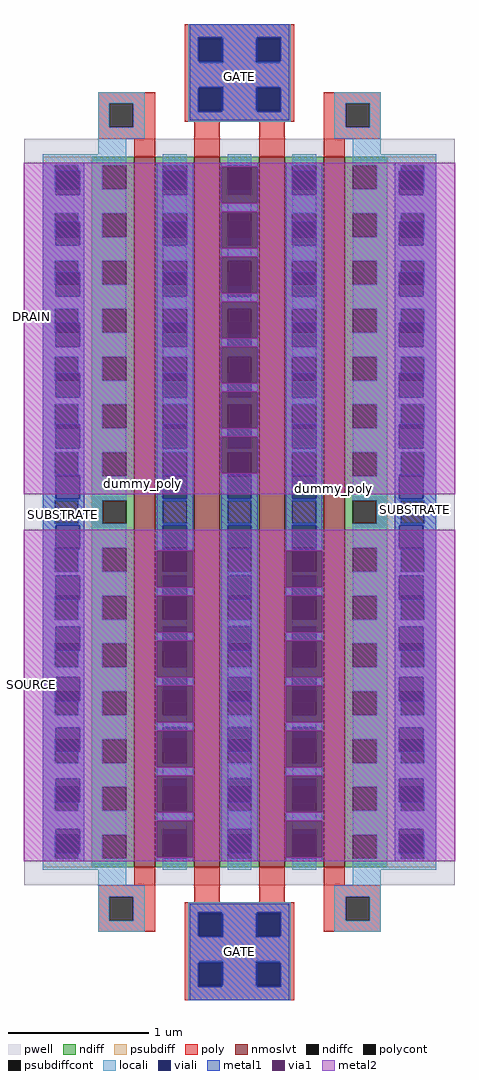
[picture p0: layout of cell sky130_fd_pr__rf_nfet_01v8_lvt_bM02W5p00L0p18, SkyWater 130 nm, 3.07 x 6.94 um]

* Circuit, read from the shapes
.subckt sky130_fd_pr__rf_nfet_01v8_lvt_bM02W5p00L0p18 DRAIN GATE SOURCE SUBSTRATE
XM1 SOURCE SUBSTRATE SUBSTRATE SUBSTRATE sky130_fd_pr__nfet_01v8_lvt w=5.05 l=0.15 m=2
XM2 DRAIN GATE SOURCE SUBSTRATE sky130_fd_pr__nfet_01v8_lvt w=5.05 l=0.18 m=2
.ends

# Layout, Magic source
magic
tech sky130A
magscale 1 2
<< pwell >>
rect 15 163 627 1225
<< nmoslvt >>
rect 171 189 201 1199
rect 257 189 293 1199
rect 349 189 385 1199
rect 441 189 471 1199
<< ndiff >>
rect 111 1187 171 1199
rect 111 1153 126 1187
rect 160 1153 171 1187
rect 111 1119 171 1153
rect 111 1085 126 1119
rect 160 1085 171 1119
rect 111 1051 171 1085
rect 111 1017 126 1051
rect 160 1017 171 1051
rect 111 983 171 1017
rect 111 949 126 983
rect 160 949 171 983
rect 111 915 171 949
rect 111 881 126 915
rect 160 881 171 915
rect 111 847 171 881
rect 111 813 126 847
rect 160 813 171 847
rect 111 779 171 813
rect 111 745 126 779
rect 160 745 171 779
rect 111 711 171 745
rect 111 677 126 711
rect 160 677 171 711
rect 111 643 171 677
rect 111 609 126 643
rect 160 609 171 643
rect 111 575 171 609
rect 111 541 126 575
rect 160 541 171 575
rect 111 507 171 541
rect 111 473 126 507
rect 160 473 171 507
rect 111 439 171 473
rect 111 405 126 439
rect 160 405 171 439
rect 111 371 171 405
rect 111 337 126 371
rect 160 337 171 371
rect 111 303 171 337
rect 111 269 126 303
rect 160 269 171 303
rect 111 235 171 269
rect 111 201 126 235
rect 160 201 171 235
rect 111 189 171 201
rect 201 1187 257 1199
rect 201 1153 212 1187
rect 246 1153 257 1187
rect 201 1119 257 1153
rect 201 1085 212 1119
rect 246 1085 257 1119
rect 201 1051 257 1085
rect 201 1017 212 1051
rect 246 1017 257 1051
rect 201 983 257 1017
rect 201 949 212 983
rect 246 949 257 983
rect 201 915 257 949
rect 201 881 212 915
rect 246 881 257 915
rect 201 847 257 881
rect 201 813 212 847
rect 246 813 257 847
rect 201 779 257 813
rect 201 745 212 779
rect 246 745 257 779
rect 201 711 257 745
rect 201 677 212 711
rect 246 677 257 711
rect 201 643 257 677
rect 201 609 212 643
rect 246 609 257 643
rect 201 575 257 609
rect 201 541 212 575
rect 246 541 257 575
rect 201 507 257 541
rect 201 473 212 507
rect 246 473 257 507
rect 201 439 257 473
rect 201 405 212 439
rect 246 405 257 439
rect 201 371 257 405
rect 201 337 212 371
rect 246 337 257 371
rect 201 303 257 337
rect 201 269 212 303
rect 246 269 257 303
rect 201 235 257 269
rect 201 201 212 235
rect 246 201 257 235
rect 201 189 257 201
rect 293 1187 349 1199
rect 293 1153 304 1187
rect 338 1153 349 1187
rect 293 1119 349 1153
rect 293 1085 304 1119
rect 338 1085 349 1119
rect 293 1051 349 1085
rect 293 1017 304 1051
rect 338 1017 349 1051
rect 293 983 349 1017
rect 293 949 304 983
rect 338 949 349 983
rect 293 915 349 949
rect 293 881 304 915
rect 338 881 349 915
rect 293 847 349 881
rect 293 813 304 847
rect 338 813 349 847
rect 293 779 349 813
rect 293 745 304 779
rect 338 745 349 779
rect 293 711 349 745
rect 293 677 304 711
rect 338 677 349 711
rect 293 643 349 677
rect 293 609 304 643
rect 338 609 349 643
rect 293 575 349 609
rect 293 541 304 575
rect 338 541 349 575
rect 293 507 349 541
rect 293 473 304 507
rect 338 473 349 507
rect 293 439 349 473
rect 293 405 304 439
rect 338 405 349 439
rect 293 371 349 405
rect 293 337 304 371
rect 338 337 349 371
rect 293 303 349 337
rect 293 269 304 303
rect 338 269 349 303
rect 293 235 349 269
rect 293 201 304 235
rect 338 201 349 235
rect 293 189 349 201
rect 385 1187 441 1199
rect 385 1153 396 1187
rect 430 1153 441 1187
rect 385 1119 441 1153
rect 385 1085 396 1119
rect 430 1085 441 1119
rect 385 1051 441 1085
rect 385 1017 396 1051
rect 430 1017 441 1051
rect 385 983 441 1017
rect 385 949 396 983
rect 430 949 441 983
rect 385 915 441 949
rect 385 881 396 915
rect 430 881 441 915
rect 385 847 441 881
rect 385 813 396 847
rect 430 813 441 847
rect 385 779 441 813
rect 385 745 396 779
rect 430 745 441 779
rect 385 711 441 745
rect 385 677 396 711
rect 430 677 441 711
rect 385 643 441 677
rect 385 609 396 643
rect 430 609 441 643
rect 385 575 441 609
rect 385 541 396 575
rect 430 541 441 575
rect 385 507 441 541
rect 385 473 396 507
rect 430 473 441 507
rect 385 439 441 473
rect 385 405 396 439
rect 430 405 441 439
rect 385 371 441 405
rect 385 337 396 371
rect 430 337 441 371
rect 385 303 441 337
rect 385 269 396 303
rect 430 269 441 303
rect 385 235 441 269
rect 385 201 396 235
rect 430 201 441 235
rect 385 189 441 201
rect 471 1187 531 1199
rect 471 1153 482 1187
rect 516 1153 531 1187
rect 471 1119 531 1153
rect 471 1085 482 1119
rect 516 1085 531 1119
rect 471 1051 531 1085
rect 471 1017 482 1051
rect 516 1017 531 1051
rect 471 983 531 1017
rect 471 949 482 983
rect 516 949 531 983
rect 471 915 531 949
rect 471 881 482 915
rect 516 881 531 915
rect 471 847 531 881
rect 471 813 482 847
rect 516 813 531 847
rect 471 779 531 813
rect 471 745 482 779
rect 516 745 531 779
rect 471 711 531 745
rect 471 677 482 711
rect 516 677 531 711
rect 471 643 531 677
rect 471 609 482 643
rect 516 609 531 643
rect 471 575 531 609
rect 471 541 482 575
rect 516 541 531 575
rect 471 507 531 541
rect 471 473 482 507
rect 516 473 531 507
rect 471 439 531 473
rect 471 405 482 439
rect 516 405 531 439
rect 471 371 531 405
rect 471 337 482 371
rect 516 337 531 371
rect 471 303 531 337
rect 471 269 482 303
rect 516 269 531 303
rect 471 235 531 269
rect 471 201 482 235
rect 516 201 531 235
rect 471 189 531 201
<< ndiffc >>
rect 126 1153 160 1187
rect 126 1085 160 1119
rect 126 1017 160 1051
rect 126 949 160 983
rect 126 881 160 915
rect 126 813 160 847
rect 126 745 160 779
rect 126 677 160 711
rect 126 609 160 643
rect 126 541 160 575
rect 126 473 160 507
rect 126 405 160 439
rect 126 337 160 371
rect 126 269 160 303
rect 126 201 160 235
rect 212 1153 246 1187
rect 212 1085 246 1119
rect 212 1017 246 1051
rect 212 949 246 983
rect 212 881 246 915
rect 212 813 246 847
rect 212 745 246 779
rect 212 677 246 711
rect 212 609 246 643
rect 212 541 246 575
rect 212 473 246 507
rect 212 405 246 439
rect 212 337 246 371
rect 212 269 246 303
rect 212 201 246 235
rect 304 1153 338 1187
rect 304 1085 338 1119
rect 304 1017 338 1051
rect 304 949 338 983
rect 304 881 338 915
rect 304 813 338 847
rect 304 745 338 779
rect 304 677 338 711
rect 304 609 338 643
rect 304 541 338 575
rect 304 473 338 507
rect 304 405 338 439
rect 304 337 338 371
rect 304 269 338 303
rect 304 201 338 235
rect 396 1153 430 1187
rect 396 1085 430 1119
rect 396 1017 430 1051
rect 396 949 430 983
rect 396 881 430 915
rect 396 813 430 847
rect 396 745 430 779
rect 396 677 430 711
rect 396 609 430 643
rect 396 541 430 575
rect 396 473 430 507
rect 396 405 430 439
rect 396 337 430 371
rect 396 269 430 303
rect 396 201 430 235
rect 482 1153 516 1187
rect 482 1085 516 1119
rect 482 1017 516 1051
rect 482 949 516 983
rect 482 881 516 915
rect 482 813 516 847
rect 482 745 516 779
rect 482 677 516 711
rect 482 609 516 643
rect 482 541 516 575
rect 482 473 516 507
rect 482 405 516 439
rect 482 337 516 371
rect 482 269 516 303
rect 482 201 516 235
<< psubdiff >>
rect 41 1187 111 1199
rect 41 1153 58 1187
rect 92 1153 111 1187
rect 41 1119 111 1153
rect 41 1085 58 1119
rect 92 1085 111 1119
rect 41 1051 111 1085
rect 41 1017 58 1051
rect 92 1017 111 1051
rect 41 983 111 1017
rect 41 949 58 983
rect 92 949 111 983
rect 41 915 111 949
rect 41 881 58 915
rect 92 881 111 915
rect 41 847 111 881
rect 41 813 58 847
rect 92 813 111 847
rect 41 779 111 813
rect 41 745 58 779
rect 92 745 111 779
rect 41 711 111 745
rect 41 677 58 711
rect 92 677 111 711
rect 41 643 111 677
rect 41 609 58 643
rect 92 609 111 643
rect 41 575 111 609
rect 41 541 58 575
rect 92 541 111 575
rect 41 507 111 541
rect 41 473 58 507
rect 92 473 111 507
rect 41 439 111 473
rect 41 405 58 439
rect 92 405 111 439
rect 41 371 111 405
rect 41 337 58 371
rect 92 337 111 371
rect 41 303 111 337
rect 41 269 58 303
rect 92 269 111 303
rect 41 235 111 269
rect 41 201 58 235
rect 92 201 111 235
rect 41 189 111 201
rect 531 1187 601 1199
rect 531 1153 550 1187
rect 584 1153 601 1187
rect 531 1119 601 1153
rect 531 1085 550 1119
rect 584 1085 601 1119
rect 531 1051 601 1085
rect 531 1017 550 1051
rect 584 1017 601 1051
rect 531 983 601 1017
rect 531 949 550 983
rect 584 949 601 983
rect 531 915 601 949
rect 531 881 550 915
rect 584 881 601 915
rect 531 847 601 881
rect 531 813 550 847
rect 584 813 601 847
rect 531 779 601 813
rect 531 745 550 779
rect 584 745 601 779
rect 531 711 601 745
rect 531 677 550 711
rect 584 677 601 711
rect 531 643 601 677
rect 531 609 550 643
rect 584 609 601 643
rect 531 575 601 609
rect 531 541 550 575
rect 584 541 601 575
rect 531 507 601 541
rect 531 473 550 507
rect 584 473 601 507
rect 531 439 601 473
rect 531 405 550 439
rect 584 405 601 439
rect 531 371 601 405
rect 531 337 550 371
rect 584 337 601 371
rect 531 303 601 337
rect 531 269 550 303
rect 584 269 601 303
rect 531 235 601 269
rect 531 201 550 235
rect 584 201 601 235
rect 531 189 601 201
<< psubdiffcont >>
rect 58 1153 92 1187
rect 58 1085 92 1119
rect 58 1017 92 1051
rect 58 949 92 983
rect 58 881 92 915
rect 58 813 92 847
rect 58 745 92 779
rect 58 677 92 711
rect 58 609 92 643
rect 58 541 92 575
rect 58 473 92 507
rect 58 405 92 439
rect 58 337 92 371
rect 58 269 92 303
rect 58 201 92 235
rect 550 1153 584 1187
rect 550 1085 584 1119
rect 550 1017 584 1051
rect 550 949 584 983
rect 550 881 584 915
rect 550 813 584 847
rect 550 745 584 779
rect 550 677 584 711
rect 550 609 584 643
rect 550 541 584 575
rect 550 473 584 507
rect 550 405 584 439
rect 550 337 584 371
rect 550 269 584 303
rect 550 201 584 235
<< poly >>
rect 243 1367 399 1388
rect 243 1333 264 1367
rect 298 1333 344 1367
rect 378 1333 399 1367
rect 243 1299 399 1333
rect 120 1275 201 1291
rect 120 1241 136 1275
rect 170 1241 201 1275
rect 243 1265 264 1299
rect 298 1265 344 1299
rect 378 1265 399 1299
rect 243 1249 399 1265
rect 441 1275 522 1291
rect 120 1225 201 1241
rect 171 1199 201 1225
rect 257 1199 293 1249
rect 349 1199 385 1249
rect 441 1241 472 1275
rect 506 1241 522 1275
rect 441 1225 522 1241
rect 441 1199 471 1225
rect 171 163 201 189
rect 120 147 201 163
rect 120 113 136 147
rect 170 113 201 147
rect 257 139 293 189
rect 349 139 385 189
rect 441 163 471 189
rect 441 147 522 163
rect 120 97 201 113
rect 243 123 399 139
rect 243 89 264 123
rect 298 89 344 123
rect 378 89 399 123
rect 441 113 472 147
rect 506 113 522 147
rect 441 97 522 113
rect 243 55 399 89
rect 243 21 264 55
rect 298 21 344 55
rect 378 21 399 55
rect 243 0 399 21
<< polycont >>
rect 264 1333 298 1367
rect 344 1333 378 1367
rect 136 1241 170 1275
rect 264 1265 298 1299
rect 344 1265 378 1299
rect 472 1241 506 1275
rect 136 113 170 147
rect 264 89 298 123
rect 344 89 378 123
rect 472 113 506 147
rect 264 21 298 55
rect 344 21 378 55
<< locali >>
rect 248 1369 394 1388
rect 248 1335 262 1369
rect 296 1367 346 1369
rect 248 1333 264 1335
rect 298 1333 344 1367
rect 380 1335 394 1369
rect 378 1333 394 1335
rect 248 1299 394 1333
rect 248 1297 264 1299
rect 120 1275 186 1291
rect 120 1241 136 1275
rect 170 1241 186 1275
rect 248 1263 262 1297
rect 298 1265 344 1299
rect 378 1297 394 1299
rect 296 1263 346 1265
rect 380 1263 394 1297
rect 248 1249 394 1263
rect 456 1275 522 1291
rect 120 1225 186 1241
rect 456 1241 472 1275
rect 506 1241 522 1275
rect 456 1225 522 1241
rect 120 1203 160 1225
rect 482 1203 522 1225
rect 41 1187 160 1203
rect 41 1153 58 1187
rect 92 1179 126 1187
rect 94 1153 126 1179
rect 41 1145 60 1153
rect 94 1145 160 1153
rect 41 1119 160 1145
rect 41 1085 58 1119
rect 92 1107 126 1119
rect 94 1085 126 1107
rect 41 1073 60 1085
rect 94 1073 160 1085
rect 41 1051 160 1073
rect 41 1017 58 1051
rect 92 1035 126 1051
rect 94 1017 126 1035
rect 41 1001 60 1017
rect 94 1001 160 1017
rect 41 983 160 1001
rect 41 949 58 983
rect 92 963 126 983
rect 94 949 126 963
rect 41 929 60 949
rect 94 929 160 949
rect 41 915 160 929
rect 41 881 58 915
rect 92 891 126 915
rect 94 881 126 891
rect 41 857 60 881
rect 94 857 160 881
rect 41 847 160 857
rect 41 813 58 847
rect 92 819 126 847
rect 94 813 126 819
rect 41 785 60 813
rect 94 785 160 813
rect 41 779 160 785
rect 41 745 58 779
rect 92 747 126 779
rect 94 745 126 747
rect 41 713 60 745
rect 94 713 160 745
rect 41 711 160 713
rect 41 677 58 711
rect 92 677 126 711
rect 41 675 160 677
rect 41 643 60 675
rect 94 643 160 675
rect 41 609 58 643
rect 94 641 126 643
rect 92 609 126 641
rect 41 603 160 609
rect 41 575 60 603
rect 94 575 160 603
rect 41 541 58 575
rect 94 569 126 575
rect 92 541 126 569
rect 41 531 160 541
rect 41 507 60 531
rect 94 507 160 531
rect 41 473 58 507
rect 94 497 126 507
rect 92 473 126 497
rect 41 459 160 473
rect 41 439 60 459
rect 94 439 160 459
rect 41 405 58 439
rect 94 425 126 439
rect 92 405 126 425
rect 41 387 160 405
rect 41 371 60 387
rect 94 371 160 387
rect 41 337 58 371
rect 94 353 126 371
rect 92 337 126 353
rect 41 315 160 337
rect 41 303 60 315
rect 94 303 160 315
rect 41 269 58 303
rect 94 281 126 303
rect 92 269 126 281
rect 41 243 160 269
rect 41 235 60 243
rect 94 235 160 243
rect 41 201 58 235
rect 94 209 126 235
rect 92 201 126 209
rect 41 185 160 201
rect 212 1187 246 1203
rect 212 1119 246 1145
rect 212 1051 246 1073
rect 212 983 246 1001
rect 212 915 246 929
rect 212 847 246 857
rect 212 779 246 785
rect 212 711 246 713
rect 212 675 246 677
rect 212 603 246 609
rect 212 531 246 541
rect 212 459 246 473
rect 212 387 246 405
rect 212 315 246 337
rect 212 243 246 269
rect 212 185 246 201
rect 304 1187 338 1203
rect 304 1119 338 1145
rect 304 1051 338 1073
rect 304 983 338 1001
rect 304 915 338 929
rect 304 847 338 857
rect 304 779 338 785
rect 304 711 338 713
rect 304 675 338 677
rect 304 603 338 609
rect 304 531 338 541
rect 304 459 338 473
rect 304 387 338 405
rect 304 315 338 337
rect 304 243 338 269
rect 304 185 338 201
rect 396 1187 430 1203
rect 396 1119 430 1145
rect 396 1051 430 1073
rect 396 983 430 1001
rect 396 915 430 929
rect 396 847 430 857
rect 396 779 430 785
rect 396 711 430 713
rect 396 675 430 677
rect 396 603 430 609
rect 396 531 430 541
rect 396 459 430 473
rect 396 387 430 405
rect 396 315 430 337
rect 396 243 430 269
rect 396 185 430 201
rect 482 1187 601 1203
rect 516 1179 550 1187
rect 516 1153 548 1179
rect 584 1153 601 1187
rect 482 1145 548 1153
rect 582 1145 601 1153
rect 482 1119 601 1145
rect 516 1107 550 1119
rect 516 1085 548 1107
rect 584 1085 601 1119
rect 482 1073 548 1085
rect 582 1073 601 1085
rect 482 1051 601 1073
rect 516 1035 550 1051
rect 516 1017 548 1035
rect 584 1017 601 1051
rect 482 1001 548 1017
rect 582 1001 601 1017
rect 482 983 601 1001
rect 516 963 550 983
rect 516 949 548 963
rect 584 949 601 983
rect 482 929 548 949
rect 582 929 601 949
rect 482 915 601 929
rect 516 891 550 915
rect 516 881 548 891
rect 584 881 601 915
rect 482 857 548 881
rect 582 857 601 881
rect 482 847 601 857
rect 516 819 550 847
rect 516 813 548 819
rect 584 813 601 847
rect 482 785 548 813
rect 582 785 601 813
rect 482 779 601 785
rect 516 747 550 779
rect 516 745 548 747
rect 584 745 601 779
rect 482 713 548 745
rect 582 713 601 745
rect 482 711 601 713
rect 516 677 550 711
rect 584 677 601 711
rect 482 675 601 677
rect 482 643 548 675
rect 582 643 601 675
rect 516 641 548 643
rect 516 609 550 641
rect 584 609 601 643
rect 482 603 601 609
rect 482 575 548 603
rect 582 575 601 603
rect 516 569 548 575
rect 516 541 550 569
rect 584 541 601 575
rect 482 531 601 541
rect 482 507 548 531
rect 582 507 601 531
rect 516 497 548 507
rect 516 473 550 497
rect 584 473 601 507
rect 482 459 601 473
rect 482 439 548 459
rect 582 439 601 459
rect 516 425 548 439
rect 516 405 550 425
rect 584 405 601 439
rect 482 387 601 405
rect 482 371 548 387
rect 582 371 601 387
rect 516 353 548 371
rect 516 337 550 353
rect 584 337 601 371
rect 482 315 601 337
rect 482 303 548 315
rect 582 303 601 315
rect 516 281 548 303
rect 516 269 550 281
rect 584 269 601 303
rect 482 243 601 269
rect 482 235 548 243
rect 582 235 601 243
rect 516 209 548 235
rect 516 201 550 209
rect 584 201 601 235
rect 482 185 601 201
rect 120 163 160 185
rect 482 163 522 185
rect 120 147 186 163
rect 120 113 136 147
rect 170 113 186 147
rect 456 147 522 163
rect 120 97 186 113
rect 248 125 394 139
rect 248 91 262 125
rect 296 123 346 125
rect 248 89 264 91
rect 298 89 344 123
rect 380 91 394 125
rect 456 113 472 147
rect 506 113 522 147
rect 456 97 522 113
rect 378 89 394 91
rect 248 55 394 89
rect 248 53 264 55
rect 248 19 262 53
rect 298 21 344 55
rect 378 53 394 55
rect 296 19 346 21
rect 380 19 394 53
rect 248 0 394 19
<< viali >>
rect 262 1367 296 1369
rect 346 1367 380 1369
rect 262 1335 264 1367
rect 264 1335 296 1367
rect 346 1335 378 1367
rect 378 1335 380 1367
rect 262 1265 264 1297
rect 264 1265 296 1297
rect 346 1265 378 1297
rect 378 1265 380 1297
rect 262 1263 296 1265
rect 346 1263 380 1265
rect 60 1153 92 1179
rect 92 1153 94 1179
rect 60 1145 94 1153
rect 60 1085 92 1107
rect 92 1085 94 1107
rect 60 1073 94 1085
rect 60 1017 92 1035
rect 92 1017 94 1035
rect 60 1001 94 1017
rect 60 949 92 963
rect 92 949 94 963
rect 60 929 94 949
rect 60 881 92 891
rect 92 881 94 891
rect 60 857 94 881
rect 60 813 92 819
rect 92 813 94 819
rect 60 785 94 813
rect 60 745 92 747
rect 92 745 94 747
rect 60 713 94 745
rect 60 643 94 675
rect 60 641 92 643
rect 92 641 94 643
rect 60 575 94 603
rect 60 569 92 575
rect 92 569 94 575
rect 60 507 94 531
rect 60 497 92 507
rect 92 497 94 507
rect 60 439 94 459
rect 60 425 92 439
rect 92 425 94 439
rect 60 371 94 387
rect 60 353 92 371
rect 92 353 94 371
rect 60 303 94 315
rect 60 281 92 303
rect 92 281 94 303
rect 60 235 94 243
rect 60 209 92 235
rect 92 209 94 235
rect 212 1153 246 1179
rect 212 1145 246 1153
rect 212 1085 246 1107
rect 212 1073 246 1085
rect 212 1017 246 1035
rect 212 1001 246 1017
rect 212 949 246 963
rect 212 929 246 949
rect 212 881 246 891
rect 212 857 246 881
rect 212 813 246 819
rect 212 785 246 813
rect 212 745 246 747
rect 212 713 246 745
rect 212 643 246 675
rect 212 641 246 643
rect 212 575 246 603
rect 212 569 246 575
rect 212 507 246 531
rect 212 497 246 507
rect 212 439 246 459
rect 212 425 246 439
rect 212 371 246 387
rect 212 353 246 371
rect 212 303 246 315
rect 212 281 246 303
rect 212 235 246 243
rect 212 209 246 235
rect 304 1153 338 1179
rect 304 1145 338 1153
rect 304 1085 338 1107
rect 304 1073 338 1085
rect 304 1017 338 1035
rect 304 1001 338 1017
rect 304 949 338 963
rect 304 929 338 949
rect 304 881 338 891
rect 304 857 338 881
rect 304 813 338 819
rect 304 785 338 813
rect 304 745 338 747
rect 304 713 338 745
rect 304 643 338 675
rect 304 641 338 643
rect 304 575 338 603
rect 304 569 338 575
rect 304 507 338 531
rect 304 497 338 507
rect 304 439 338 459
rect 304 425 338 439
rect 304 371 338 387
rect 304 353 338 371
rect 304 303 338 315
rect 304 281 338 303
rect 304 235 338 243
rect 304 209 338 235
rect 396 1153 430 1179
rect 396 1145 430 1153
rect 396 1085 430 1107
rect 396 1073 430 1085
rect 396 1017 430 1035
rect 396 1001 430 1017
rect 396 949 430 963
rect 396 929 430 949
rect 396 881 430 891
rect 396 857 430 881
rect 396 813 430 819
rect 396 785 430 813
rect 396 745 430 747
rect 396 713 430 745
rect 396 643 430 675
rect 396 641 430 643
rect 396 575 430 603
rect 396 569 430 575
rect 396 507 430 531
rect 396 497 430 507
rect 396 439 430 459
rect 396 425 430 439
rect 396 371 430 387
rect 396 353 430 371
rect 396 303 430 315
rect 396 281 430 303
rect 396 235 430 243
rect 396 209 430 235
rect 548 1153 550 1179
rect 550 1153 582 1179
rect 548 1145 582 1153
rect 548 1085 550 1107
rect 550 1085 582 1107
rect 548 1073 582 1085
rect 548 1017 550 1035
rect 550 1017 582 1035
rect 548 1001 582 1017
rect 548 949 550 963
rect 550 949 582 963
rect 548 929 582 949
rect 548 881 550 891
rect 550 881 582 891
rect 548 857 582 881
rect 548 813 550 819
rect 550 813 582 819
rect 548 785 582 813
rect 548 745 550 747
rect 550 745 582 747
rect 548 713 582 745
rect 548 643 582 675
rect 548 641 550 643
rect 550 641 582 643
rect 548 575 582 603
rect 548 569 550 575
rect 550 569 582 575
rect 548 507 582 531
rect 548 497 550 507
rect 550 497 582 507
rect 548 439 582 459
rect 548 425 550 439
rect 550 425 582 439
rect 548 371 582 387
rect 548 353 550 371
rect 550 353 582 371
rect 548 303 582 315
rect 548 281 550 303
rect 550 281 582 303
rect 548 235 582 243
rect 548 209 550 235
rect 550 209 582 235
rect 262 123 296 125
rect 346 123 380 125
rect 262 91 264 123
rect 264 91 296 123
rect 346 91 378 123
rect 378 91 380 123
rect 262 21 264 53
rect 264 21 296 53
rect 346 21 378 53
rect 378 21 380 53
rect 262 19 296 21
rect 346 19 380 21
<< metal1 >>
rect 250 1369 392 1388
rect 250 1335 262 1369
rect 296 1335 346 1369
rect 380 1335 392 1369
rect 250 1297 392 1335
rect 250 1263 262 1297
rect 296 1263 346 1297
rect 380 1263 392 1297
rect 250 1251 392 1263
rect 41 1179 100 1191
rect 41 1145 60 1179
rect 94 1145 100 1179
rect 41 1107 100 1145
rect 41 1073 60 1107
rect 94 1073 100 1107
rect 41 1035 100 1073
rect 41 1001 60 1035
rect 94 1001 100 1035
rect 41 963 100 1001
rect 41 929 60 963
rect 94 929 100 963
rect 41 891 100 929
rect 41 857 60 891
rect 94 857 100 891
rect 41 819 100 857
rect 41 785 60 819
rect 94 785 100 819
rect 41 747 100 785
rect 41 713 60 747
rect 94 713 100 747
rect 41 675 100 713
rect 41 641 60 675
rect 94 641 100 675
rect 41 603 100 641
rect 41 569 60 603
rect 94 569 100 603
rect 41 531 100 569
rect 41 497 60 531
rect 94 497 100 531
rect 41 459 100 497
rect 41 425 60 459
rect 94 425 100 459
rect 41 387 100 425
rect 41 353 60 387
rect 94 353 100 387
rect 41 315 100 353
rect 41 281 60 315
rect 94 281 100 315
rect 41 243 100 281
rect 41 209 60 243
rect 94 209 100 243
rect 41 197 100 209
rect 203 1179 255 1191
rect 203 1145 212 1179
rect 246 1145 255 1179
rect 203 1107 255 1145
rect 203 1073 212 1107
rect 246 1073 255 1107
rect 203 1035 255 1073
rect 203 1001 212 1035
rect 246 1001 255 1035
rect 203 963 255 1001
rect 203 929 212 963
rect 246 929 255 963
rect 203 891 255 929
rect 203 857 212 891
rect 246 857 255 891
rect 203 819 255 857
rect 203 785 212 819
rect 246 785 255 819
rect 203 747 255 785
rect 203 713 212 747
rect 246 713 255 747
rect 203 675 255 713
rect 203 641 212 675
rect 246 641 255 675
rect 203 639 255 641
rect 203 575 212 587
rect 246 575 255 587
rect 203 511 212 523
rect 246 511 255 523
rect 203 447 212 459
rect 246 447 255 459
rect 203 387 255 395
rect 203 383 212 387
rect 246 383 255 387
rect 203 319 255 331
rect 203 255 255 267
rect 203 197 255 203
rect 295 1185 347 1191
rect 295 1121 347 1133
rect 295 1057 347 1069
rect 295 1001 304 1005
rect 338 1001 347 1005
rect 295 993 347 1001
rect 295 929 304 941
rect 338 929 347 941
rect 295 865 304 877
rect 338 865 347 877
rect 295 801 304 813
rect 338 801 347 813
rect 295 747 347 749
rect 295 713 304 747
rect 338 713 347 747
rect 295 675 347 713
rect 295 641 304 675
rect 338 641 347 675
rect 295 603 347 641
rect 295 569 304 603
rect 338 569 347 603
rect 295 531 347 569
rect 295 497 304 531
rect 338 497 347 531
rect 295 459 347 497
rect 295 425 304 459
rect 338 425 347 459
rect 295 387 347 425
rect 295 353 304 387
rect 338 353 347 387
rect 295 315 347 353
rect 295 281 304 315
rect 338 281 347 315
rect 295 243 347 281
rect 295 209 304 243
rect 338 209 347 243
rect 295 197 347 209
rect 387 1179 439 1191
rect 387 1145 396 1179
rect 430 1145 439 1179
rect 387 1107 439 1145
rect 387 1073 396 1107
rect 430 1073 439 1107
rect 387 1035 439 1073
rect 387 1001 396 1035
rect 430 1001 439 1035
rect 387 963 439 1001
rect 387 929 396 963
rect 430 929 439 963
rect 387 891 439 929
rect 387 857 396 891
rect 430 857 439 891
rect 387 819 439 857
rect 387 785 396 819
rect 430 785 439 819
rect 387 747 439 785
rect 387 713 396 747
rect 430 713 439 747
rect 387 675 439 713
rect 387 641 396 675
rect 430 641 439 675
rect 387 639 439 641
rect 387 575 396 587
rect 430 575 439 587
rect 387 511 396 523
rect 430 511 439 523
rect 387 447 396 459
rect 430 447 439 459
rect 387 387 439 395
rect 387 383 396 387
rect 430 383 439 387
rect 387 319 439 331
rect 387 255 439 267
rect 387 197 439 203
rect 542 1179 601 1191
rect 542 1145 548 1179
rect 582 1145 601 1179
rect 542 1107 601 1145
rect 542 1073 548 1107
rect 582 1073 601 1107
rect 542 1035 601 1073
rect 542 1001 548 1035
rect 582 1001 601 1035
rect 542 963 601 1001
rect 542 929 548 963
rect 582 929 601 963
rect 542 891 601 929
rect 542 857 548 891
rect 582 857 601 891
rect 542 819 601 857
rect 542 785 548 819
rect 582 785 601 819
rect 542 747 601 785
rect 542 713 548 747
rect 582 713 601 747
rect 542 675 601 713
rect 542 641 548 675
rect 582 641 601 675
rect 542 603 601 641
rect 542 569 548 603
rect 582 569 601 603
rect 542 531 601 569
rect 542 497 548 531
rect 582 497 601 531
rect 542 459 601 497
rect 542 425 548 459
rect 582 425 601 459
rect 542 387 601 425
rect 542 353 548 387
rect 582 353 601 387
rect 542 315 601 353
rect 542 281 548 315
rect 582 281 601 315
rect 542 243 601 281
rect 542 209 548 243
rect 582 209 601 243
rect 542 197 601 209
rect 250 125 392 137
rect 250 91 262 125
rect 296 91 346 125
rect 380 91 392 125
rect 250 53 392 91
rect 250 19 262 53
rect 296 19 346 53
rect 380 19 392 53
rect 250 0 392 19
<< via1 >>
rect 203 603 255 639
rect 203 587 212 603
rect 212 587 246 603
rect 246 587 255 603
rect 203 569 212 575
rect 212 569 246 575
rect 246 569 255 575
rect 203 531 255 569
rect 203 523 212 531
rect 212 523 246 531
rect 246 523 255 531
rect 203 497 212 511
rect 212 497 246 511
rect 246 497 255 511
rect 203 459 255 497
rect 203 425 212 447
rect 212 425 246 447
rect 246 425 255 447
rect 203 395 255 425
rect 203 353 212 383
rect 212 353 246 383
rect 246 353 255 383
rect 203 331 255 353
rect 203 315 255 319
rect 203 281 212 315
rect 212 281 246 315
rect 246 281 255 315
rect 203 267 255 281
rect 203 243 255 255
rect 203 209 212 243
rect 212 209 246 243
rect 246 209 255 243
rect 203 203 255 209
rect 295 1179 347 1185
rect 295 1145 304 1179
rect 304 1145 338 1179
rect 338 1145 347 1179
rect 295 1133 347 1145
rect 295 1107 347 1121
rect 295 1073 304 1107
rect 304 1073 338 1107
rect 338 1073 347 1107
rect 295 1069 347 1073
rect 295 1035 347 1057
rect 295 1005 304 1035
rect 304 1005 338 1035
rect 338 1005 347 1035
rect 295 963 347 993
rect 295 941 304 963
rect 304 941 338 963
rect 338 941 347 963
rect 295 891 347 929
rect 295 877 304 891
rect 304 877 338 891
rect 338 877 347 891
rect 295 857 304 865
rect 304 857 338 865
rect 338 857 347 865
rect 295 819 347 857
rect 295 813 304 819
rect 304 813 338 819
rect 338 813 347 819
rect 295 785 304 801
rect 304 785 338 801
rect 338 785 347 801
rect 295 749 347 785
rect 387 603 439 639
rect 387 587 396 603
rect 396 587 430 603
rect 430 587 439 603
rect 387 569 396 575
rect 396 569 430 575
rect 430 569 439 575
rect 387 531 439 569
rect 387 523 396 531
rect 396 523 430 531
rect 430 523 439 531
rect 387 497 396 511
rect 396 497 430 511
rect 430 497 439 511
rect 387 459 439 497
rect 387 425 396 447
rect 396 425 430 447
rect 430 425 439 447
rect 387 395 439 425
rect 387 353 396 383
rect 396 353 430 383
rect 430 353 439 383
rect 387 331 439 353
rect 387 315 439 319
rect 387 281 396 315
rect 396 281 430 315
rect 430 281 439 315
rect 387 267 439 281
rect 387 243 439 255
rect 387 209 396 243
rect 396 209 430 243
rect 430 209 439 243
rect 387 203 439 209
<< metal2 >>
rect 14 1185 628 1191
rect 14 1133 295 1185
rect 347 1133 628 1185
rect 14 1121 628 1133
rect 14 1069 295 1121
rect 347 1069 628 1121
rect 14 1057 628 1069
rect 14 1005 295 1057
rect 347 1005 628 1057
rect 14 993 628 1005
rect 14 941 295 993
rect 347 941 628 993
rect 14 929 628 941
rect 14 877 295 929
rect 347 877 628 929
rect 14 865 628 877
rect 14 813 295 865
rect 347 813 628 865
rect 14 801 628 813
rect 14 749 295 801
rect 347 749 628 801
rect 14 719 628 749
rect 14 639 628 669
rect 14 587 203 639
rect 255 587 387 639
rect 439 587 628 639
rect 14 575 628 587
rect 14 523 203 575
rect 255 523 387 575
rect 439 523 628 575
rect 14 511 628 523
rect 14 459 203 511
rect 255 459 387 511
rect 439 459 628 511
rect 14 447 628 459
rect 14 395 203 447
rect 255 395 387 447
rect 439 395 628 447
rect 14 383 628 395
rect 14 331 203 383
rect 255 331 387 383
rect 439 331 628 383
rect 14 319 628 331
rect 14 267 203 319
rect 255 267 387 319
rect 439 267 628 319
rect 14 255 628 267
rect 14 203 203 255
rect 255 203 387 255
rect 439 203 628 255
rect 14 197 628 203
<< labels >>
flabel comment s 183 734 183 734 0 FreeSans 180 90 0 0 dummy_poly
flabel comment s 454 727 454 727 0 FreeSans 180 90 0 0 dummy_poly
flabel metal1 s 255 1288 386 1339 0 FreeSans 200 0 0 0 GATE
port 2 nsew
flabel metal1 s 255 44 386 95 0 FreeSans 200 0 0 0 GATE
port 2 nsew
flabel metal1 s 542 683 601 713 0 FreeSans 200 90 0 0 SUBSTRATE
port 4 nsew
flabel metal1 s 41 675 100 705 0 FreeSans 200 90 0 0 SUBSTRATE
port 4 nsew
flabel metal2 s 14 384 35 512 7 FreeSans 300 180 0 0 SOURCE
port 3 nsew
flabel metal2 s 14 908 35 1036 7 FreeSans 300 180 0 0 DRAIN
port 1 nsew
<< properties >>
string GDS_FILE $PDKPATH/libs.ref/sky130_fd_pr/gds/sky130_fd_pr.gds
string GDS_END 6306628
string GDS_START 6286532
<< end >>
